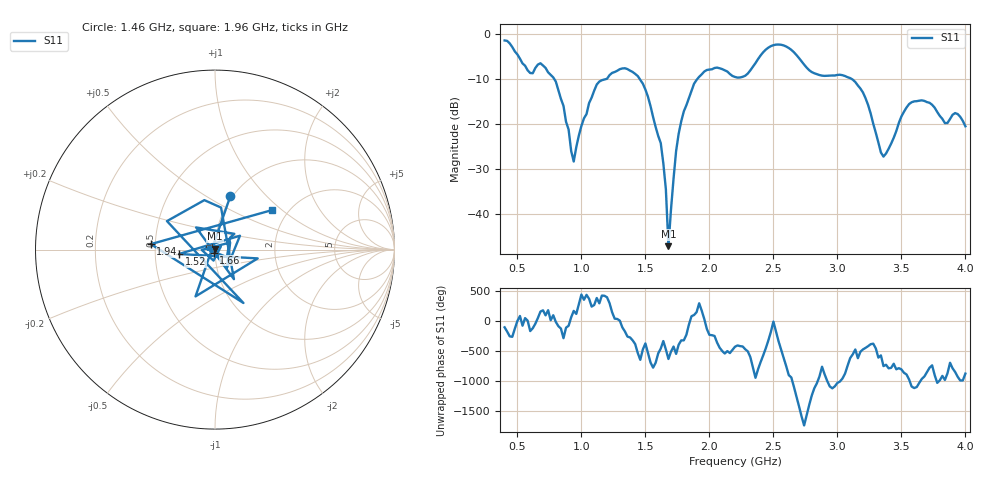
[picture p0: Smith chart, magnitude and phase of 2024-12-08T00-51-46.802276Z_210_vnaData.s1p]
!Created with skrf (http://scikit-rf.org).
# Hz S RI R 50.0
!freq ReS11 ImS11
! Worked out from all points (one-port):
!   181 points, 400 MHz to 4 GHz, reference 50 ohm
!   lowest |S11| = -47.1 dB at 1.68 GHz (marker M1), VSWR 1.01, Z = 50 + j0.44 ohm
!   |S11| at or under -10 dB: 789 MHz to 1.187 GHz (397.5 MHz wide, 40.2 % of centre); 1.457 GHz to 1.904 GHz (446.7 MHz wide, 26.6 % of centre); 3.115 GHz to end of sweep
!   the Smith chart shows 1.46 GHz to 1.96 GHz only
!   S11 on the Smith chart (normalised r, x): 1.46 GHz: 0.98, +0.65; 1.52 GHz: 0.66, -0.03; 1.66 GHz: 0.98, -0.03; 1.94 GHz: 0.47, +0.03; 1.96 GHz: 1.65, +0.85
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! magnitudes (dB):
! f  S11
! 400 MHz  -1.4
! 600 MHz  -8.6
! 720 MHz  -7.5
! 860 MHz  -15.9
! 940 MHz  -28.3
! 1 GHz  -20.4
! 1.12 GHz  -11.2
! 1.3 GHz  -7.8
! 1.46 GHz  -10.1
! 1.52 GHz  -13.9
! 1.62 GHz  -24.2
! 1.66 GHz  -34.5
! 1.68 GHz  -47.1
! 1.72 GHz  -32.1
! 1.76 GHz  -22.1
! 1.88 GHz  -11.0
! 1.94 GHz  -8.9
! 1.96 GHz  -8.3
! 2.2 GHz  -9.5
! 2.48 GHz  -2.6
! 2.66 GHz  -4.0
! 2.8 GHz  -8.4
! 3.1 GHz  -9.7
! 3.22 GHz  -14.2
! 3.36 GHz  -27.2
! 3.56 GHz  -15.5
! 3.72 GHz  -15.2
! 4 GHz  -20.5
